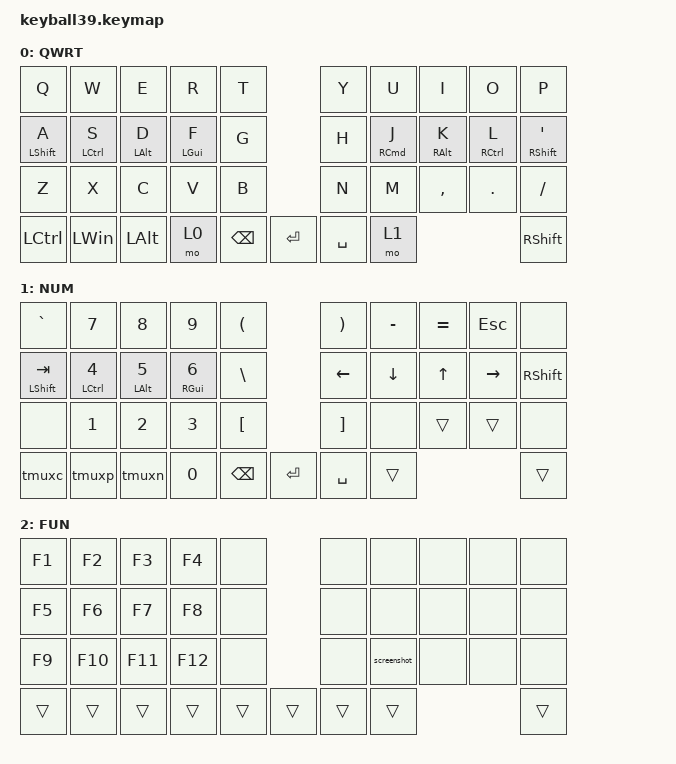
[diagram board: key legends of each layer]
#define DEFAULT 0
#define NUM     1
#define SYM     2
#define FUN     3
#define MOUSE   4
#define SCROLL  5
#define SNIPE   6

#include <behaviors/mouse_keys.dtsi>
#include <dt-bindings/zmk/mouse.h>
#include <behaviors.dtsi>
#include <dt-bindings/zmk/keys.h>
#include <dt-bindings/zmk/pointing.h>

&lt {
    tapping-term-ms = <240>;
    flavor = "balanced";
    quick-tap-ms = <150>;
};

&mt {
    tapping-term-ms = <200>;
    flavor = "tap-preferred";
    quick-tap-ms = <150>;
};

&caps_word { continue-list = <UNDERSCORE MINUS>; };

&msc { acceleration-exponent = <1>; };

/ {
    // custom shift using mod-morph 

    behaviors {
        cmqus: comma_question {
            compatible = "zmk,behavior-mod-morph";
            label = "COMMA_QUESTION";
            #binding-cells = <0>;
            bindings = <&kp COMMA>, <&kp QUESTION>;

            mods = <(MOD_LSFT|MOD_RSFT)>;
        };

        dtsmi: dot_semi {
            compatible = "zmk,behavior-mod-morph";
            label = "DOT_SEMI";
            #binding-cells = <0>;
            bindings = <&kp DOT>, <&kp SEMI>;

            mods = <(MOD_LSFT|MOD_RSFT)>;
        };
    };

    macros {
        Hiragana: Hiragana {
            compatible = "zmk,behavior-macro";
            #binding-cells = <0>;
            bindings = <&kp LC(SPACE)>;
            label = "HIRAGANA";
        };

        screenshot: screenshot {
            compatible = "zmk,behavior-macro";
            #binding-cells = <0>;
            bindings = <&kp LS(LC(LG(NUMBER_4)))>;
            label = "SCREENSHOT";
        };

        tmuxc: tmuxc {
            compatible = "zmk,behavior-macro";
            #binding-cells = <0>;
            bindings = <&kp LC(B) &kp C>;
            label = "TMUXC";
        };

        tmuxn: tmuxn {
            compatible = "zmk,behavior-macro";
            #binding-cells = <0>;
            bindings = <&kp LC(B) &kp N>;
            label = "TMUXN";
        };

        tmuxp: tmuxp {
            compatible = "zmk,behavior-macro";
            #binding-cells = <0>;
            bindings = <&kp LC(B) &kp P>;
            label = "TMUXP";
        };
    };

    combos {
        compatible = "zmk,combos";

        LEFT_CLICK {
            bindings = <&mkp LCLK>;
            key-positions = <15 16>;
        };

        RIGHT_CLICK {
            bindings = <&mkp RCLK>;
            key-positions = <16 17>;
        };

        SCROLL_UP {
            bindings = <&msc SCRL_UP>;
            key-positions = <25 26>;
        };

        SCROLL_DOWN {
            bindings = <&msc SCRL_DOWN>;
            key-positions = <5 6>;
        };

        SEMI_COLON {
            bindings = <&kp SEMICOLON>;
            key-positions = <19 18 17>;
        };

        COLON_ {
            bindings = <&kp COLON>;
            key-positions = <16 17 18 19>;
        };

        leftclick {
            bindings = <&mkp LCLK>;
            key-positions = <13 14>;
        };
    };

    keymap {
        compatible = "zmk,keymap";

        default_layer {
            label = "QWRT";
            bindings = <
&kp Q         &kp W         &kp E           &kp R           &kp T                                &kp Y  &kp U                &kp I            &kp O        &kp P
&mt LSHIFT A  &mt LCTRL S   &mt LEFT_ALT D  &mt LEFT_GUI F  &kp G                                &kp H  &mt RIGHT_COMMAND J  &mt RIGHT_ALT K  &mt RCTRL L  &mt RIGHT_SHIFT APOSTROPHE
&kp Z         &kp X         &kp C           &kp V           &kp B                                &kp N  &kp M                &kp COMMA        &kp DOT      &kp SLASH
&kp LCTRL     &kp LEFT_WIN  &kp LALT        &mo 0           &kp BACKSPACE  &kp ENTER  &kp SPACE  &mo 1                                                     &kp RSHFT
            >;
        };

        number_layer {
            label = "NUM";
            bindings = <
&kp GRAVE           &kp NUMBER_7        &kp NUMBER_8           &kp NUMBER_9            &kp LEFT_PARENTHESIS                        &kp RIGHT_PARENTHESIS  &kp MINUS       &kp EQUAL     &kp ESCAPE       &none
&mt LEFT_SHIFT TAB  &mt LCTRL NUMBER_4  &mt LEFT_ALT NUMBER_5  &mt RIGHT_GUI NUMBER_6  &kp BACKSLASH                               &kp LEFT_ARROW         &kp DOWN_ARROW  &kp UP_ARROW  &kp RIGHT_ARROW  &kp RIGHT_SHIFT
&none               &kp NUMBER_1        &kp NUMBER_2           &kp NUMBER_3            &kp LEFT_BRACKET                            &kp RIGHT_BRACKET      &none           &trans        &trans           &none
&tmuxc              &tmuxp              &tmuxn                 &kp NUMBER_0            &kp BACKSPACE         &kp ENTER  &kp SPACE  &trans                                                                &trans
            >;
        };

        function_layer {
            label = "FUN";
            bindings = <
&kp F1  &kp F2   &kp F3   &kp F4   &none                   &none   &none        &none  &none  &none
&kp F5  &kp F6   &kp F7   &kp F8   &none                   &none   &none        &none  &none  &none
&kp F9  &kp F10  &kp F11  &kp F12  &none                   &none   &screenshot  &none  &none  &none
&trans  &trans   &trans   &trans   &trans  &trans  &trans  &trans                             &trans
            >;
        };
    };
};
